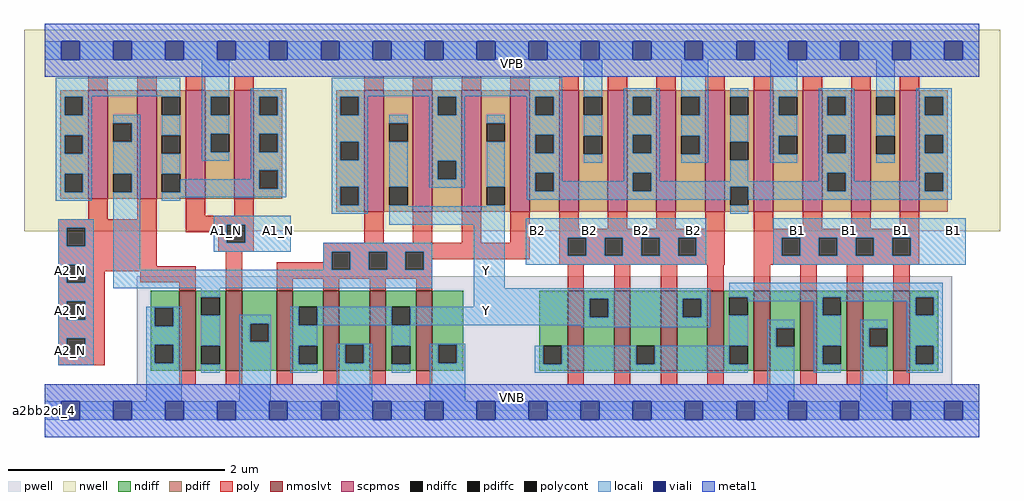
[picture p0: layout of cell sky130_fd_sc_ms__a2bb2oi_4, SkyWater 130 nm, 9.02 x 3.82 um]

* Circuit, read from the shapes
.subckt sky130_fd_sc_ms__a2bb2oi_4 A1_N A2_N B1 B2 VGND VNB VPB VPWR Y
XM1 n1 A2_N VGND VNB sky130_fd_pr__nfet_01v8_lvt w=0.74 l=0.15
XM2 VGND A1_N n1 VNB sky130_fd_pr__nfet_01v8_lvt w=0.74 l=0.15
XM3 Y n1 VGND VNB sky130_fd_pr__nfet_01v8_lvt w=0.74 l=0.15 m=4
XM4 Y B2 n2 VNB sky130_fd_pr__nfet_01v8_lvt w=0.74 l=0.15 m=4
XM5 VGND B1 n2 VNB sky130_fd_pr__nfet_01v8_lvt w=0.74 l=0.15 m=4
XM6 n1 A2_N n3 VPB sky130_fd_pr__pfet_01v8 w=1 l=0.18 m=2
XM7 VPWR A1_N n3 VPB sky130_fd_pr__pfet_01v8 w=1 l=0.18 m=2
XM8 Y n1 n4 VPB sky130_fd_pr__pfet_01v8 w=1.12 l=0.18 m=4
XM9 VPWR B2 n4 VPB sky130_fd_pr__pfet_01v8 w=1.12 l=0.18 m=4
XM10 VPWR B1 n4 VPB sky130_fd_pr__pfet_01v8 w=1.12 l=0.18 m=4
.ends

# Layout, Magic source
magic
tech sky130A
magscale 1 2
<< nwell >>
rect -38 332 1766 704
<< pwell >>
rect 170 49 1678 248
rect 0 0 1728 49
<< scpmos >>
rect 81 392 117 592
rect 171 392 207 592
rect 261 392 297 592
rect 351 392 387 592
rect 591 368 627 592
rect 681 368 717 592
rect 771 368 807 592
rect 861 368 897 592
rect 951 368 987 592
rect 1041 368 1077 592
rect 1131 368 1167 592
rect 1221 368 1257 592
rect 1311 368 1347 592
rect 1401 368 1437 592
rect 1491 368 1527 592
rect 1581 368 1617 592
<< nmoslvt >>
rect 249 74 279 222
rect 335 74 365 222
rect 429 74 459 222
rect 515 74 545 222
rect 601 74 631 222
rect 687 74 717 222
rect 967 74 997 222
rect 1053 74 1083 222
rect 1139 74 1169 222
rect 1225 74 1255 222
rect 1311 74 1341 222
rect 1397 74 1427 222
rect 1483 74 1513 222
rect 1569 74 1599 222
<< ndiff >>
rect 196 190 249 222
rect 196 156 204 190
rect 238 156 249 190
rect 196 122 249 156
rect 196 88 204 122
rect 238 88 249 122
rect 196 74 249 88
rect 279 210 335 222
rect 279 176 290 210
rect 324 176 335 210
rect 279 120 335 176
rect 279 86 290 120
rect 324 86 335 120
rect 279 74 335 86
rect 365 161 429 222
rect 365 127 380 161
rect 414 127 429 161
rect 365 74 429 127
rect 459 192 515 222
rect 459 158 470 192
rect 504 158 515 192
rect 459 120 515 158
rect 459 86 470 120
rect 504 86 515 120
rect 459 74 515 86
rect 545 122 601 222
rect 545 88 556 122
rect 590 88 601 122
rect 545 74 601 88
rect 631 192 687 222
rect 631 158 642 192
rect 676 158 687 192
rect 631 120 687 158
rect 631 86 642 120
rect 676 86 687 120
rect 631 74 687 86
rect 717 122 774 222
rect 717 88 728 122
rect 762 88 774 122
rect 717 74 774 88
rect 914 120 967 222
rect 914 86 922 120
rect 956 86 967 120
rect 914 74 967 86
rect 997 207 1053 222
rect 997 173 1008 207
rect 1042 173 1053 207
rect 997 74 1053 173
rect 1083 120 1139 222
rect 1083 86 1094 120
rect 1128 86 1139 120
rect 1083 74 1139 86
rect 1169 207 1225 222
rect 1169 173 1180 207
rect 1214 173 1225 207
rect 1169 74 1225 173
rect 1255 210 1311 222
rect 1255 176 1266 210
rect 1300 176 1311 210
rect 1255 120 1311 176
rect 1255 86 1266 120
rect 1300 86 1311 120
rect 1255 74 1311 86
rect 1341 152 1397 222
rect 1341 118 1352 152
rect 1386 118 1397 152
rect 1341 74 1397 118
rect 1427 210 1483 222
rect 1427 176 1438 210
rect 1472 176 1483 210
rect 1427 120 1483 176
rect 1427 86 1438 120
rect 1472 86 1483 120
rect 1427 74 1483 86
rect 1513 152 1569 222
rect 1513 118 1524 152
rect 1558 118 1569 152
rect 1513 74 1569 118
rect 1599 210 1652 222
rect 1599 176 1610 210
rect 1644 176 1652 210
rect 1599 120 1652 176
rect 1599 86 1610 120
rect 1644 86 1652 120
rect 1599 74 1652 86
<< pdiff >>
rect 29 580 81 592
rect 29 546 37 580
rect 71 546 81 580
rect 29 509 81 546
rect 29 475 37 509
rect 71 475 81 509
rect 29 438 81 475
rect 29 404 37 438
rect 71 404 81 438
rect 29 392 81 404
rect 117 531 171 592
rect 117 497 127 531
rect 161 497 171 531
rect 117 438 171 497
rect 117 404 127 438
rect 161 404 171 438
rect 117 392 171 404
rect 207 580 261 592
rect 207 546 217 580
rect 251 546 261 580
rect 207 509 261 546
rect 207 475 217 509
rect 251 475 261 509
rect 207 438 261 475
rect 207 404 217 438
rect 251 404 261 438
rect 207 392 261 404
rect 297 580 351 592
rect 297 546 307 580
rect 341 546 351 580
rect 297 512 351 546
rect 297 478 307 512
rect 341 478 351 512
rect 297 392 351 478
rect 387 580 439 592
rect 387 546 397 580
rect 431 546 439 580
rect 387 512 439 546
rect 387 478 397 512
rect 431 478 439 512
rect 387 444 439 478
rect 387 410 397 444
rect 431 410 439 444
rect 387 392 439 410
rect 539 580 591 592
rect 539 546 547 580
rect 581 546 591 580
rect 539 497 591 546
rect 539 463 547 497
rect 581 463 591 497
rect 539 414 591 463
rect 539 380 547 414
rect 581 380 591 414
rect 539 368 591 380
rect 627 531 681 592
rect 627 497 637 531
rect 671 497 681 531
rect 627 414 681 497
rect 627 380 637 414
rect 671 380 681 414
rect 627 368 681 380
rect 717 580 771 592
rect 717 546 727 580
rect 761 546 771 580
rect 717 462 771 546
rect 717 428 727 462
rect 761 428 771 462
rect 717 368 771 428
rect 807 531 861 592
rect 807 497 817 531
rect 851 497 861 531
rect 807 414 861 497
rect 807 380 817 414
rect 851 380 861 414
rect 807 368 861 380
rect 897 580 951 592
rect 897 546 907 580
rect 941 546 951 580
rect 897 510 951 546
rect 897 476 907 510
rect 941 476 951 510
rect 897 440 951 476
rect 897 406 907 440
rect 941 406 951 440
rect 897 368 951 406
rect 987 580 1041 592
rect 987 546 997 580
rect 1031 546 1041 580
rect 987 508 1041 546
rect 987 474 997 508
rect 1031 474 1041 508
rect 987 368 1041 474
rect 1077 580 1131 592
rect 1077 546 1087 580
rect 1121 546 1131 580
rect 1077 510 1131 546
rect 1077 476 1087 510
rect 1121 476 1131 510
rect 1077 440 1131 476
rect 1077 406 1087 440
rect 1121 406 1131 440
rect 1077 368 1131 406
rect 1167 580 1221 592
rect 1167 546 1177 580
rect 1211 546 1221 580
rect 1167 508 1221 546
rect 1167 474 1177 508
rect 1211 474 1221 508
rect 1167 368 1221 474
rect 1257 580 1311 592
rect 1257 546 1267 580
rect 1301 546 1311 580
rect 1257 497 1311 546
rect 1257 463 1267 497
rect 1301 463 1311 497
rect 1257 414 1311 463
rect 1257 380 1267 414
rect 1301 380 1311 414
rect 1257 368 1311 380
rect 1347 580 1401 592
rect 1347 546 1357 580
rect 1391 546 1401 580
rect 1347 508 1401 546
rect 1347 474 1357 508
rect 1391 474 1401 508
rect 1347 368 1401 474
rect 1437 580 1491 592
rect 1437 546 1447 580
rect 1481 546 1491 580
rect 1437 510 1491 546
rect 1437 476 1447 510
rect 1481 476 1491 510
rect 1437 440 1491 476
rect 1437 406 1447 440
rect 1481 406 1491 440
rect 1437 368 1491 406
rect 1527 580 1581 592
rect 1527 546 1537 580
rect 1571 546 1581 580
rect 1527 508 1581 546
rect 1527 474 1537 508
rect 1571 474 1581 508
rect 1527 368 1581 474
rect 1617 580 1669 592
rect 1617 546 1627 580
rect 1661 546 1669 580
rect 1617 510 1669 546
rect 1617 476 1627 510
rect 1661 476 1669 510
rect 1617 440 1669 476
rect 1617 406 1627 440
rect 1661 406 1669 440
rect 1617 368 1669 406
<< ndiffc >>
rect 204 156 238 190
rect 204 88 238 122
rect 290 176 324 210
rect 290 86 324 120
rect 380 127 414 161
rect 470 158 504 192
rect 470 86 504 120
rect 556 88 590 122
rect 642 158 676 192
rect 642 86 676 120
rect 728 88 762 122
rect 922 86 956 120
rect 1008 173 1042 207
rect 1094 86 1128 120
rect 1180 173 1214 207
rect 1266 176 1300 210
rect 1266 86 1300 120
rect 1352 118 1386 152
rect 1438 176 1472 210
rect 1438 86 1472 120
rect 1524 118 1558 152
rect 1610 176 1644 210
rect 1610 86 1644 120
<< pdiffc >>
rect 37 546 71 580
rect 37 475 71 509
rect 37 404 71 438
rect 127 497 161 531
rect 127 404 161 438
rect 217 546 251 580
rect 217 475 251 509
rect 217 404 251 438
rect 307 546 341 580
rect 307 478 341 512
rect 397 546 431 580
rect 397 478 431 512
rect 397 410 431 444
rect 547 546 581 580
rect 547 463 581 497
rect 547 380 581 414
rect 637 497 671 531
rect 637 380 671 414
rect 727 546 761 580
rect 727 428 761 462
rect 817 497 851 531
rect 817 380 851 414
rect 907 546 941 580
rect 907 476 941 510
rect 907 406 941 440
rect 997 546 1031 580
rect 997 474 1031 508
rect 1087 546 1121 580
rect 1087 476 1121 510
rect 1087 406 1121 440
rect 1177 546 1211 580
rect 1177 474 1211 508
rect 1267 546 1301 580
rect 1267 463 1301 497
rect 1267 380 1301 414
rect 1357 546 1391 580
rect 1357 474 1391 508
rect 1447 546 1481 580
rect 1447 476 1481 510
rect 1447 406 1481 440
rect 1537 546 1571 580
rect 1537 474 1571 508
rect 1627 546 1661 580
rect 1627 476 1661 510
rect 1627 406 1661 440
<< poly >>
rect 81 592 117 618
rect 171 592 207 618
rect 261 592 297 618
rect 351 592 387 618
rect 591 592 627 618
rect 681 592 717 618
rect 771 592 807 618
rect 861 592 897 618
rect 951 592 987 618
rect 1041 592 1077 618
rect 1131 592 1167 618
rect 1221 592 1257 618
rect 1311 592 1347 618
rect 1401 592 1437 618
rect 1491 592 1527 618
rect 1581 592 1617 618
rect 81 354 117 392
rect 171 354 207 392
rect 25 338 207 354
rect 25 304 41 338
rect 75 304 207 338
rect 261 360 297 392
rect 351 360 387 392
rect 261 344 387 360
rect 261 330 337 344
rect 25 270 207 304
rect 321 310 337 330
rect 371 310 387 344
rect 591 310 627 368
rect 681 310 717 368
rect 771 310 807 368
rect 861 310 897 368
rect 321 294 387 310
rect 515 294 897 310
rect 25 236 41 270
rect 75 267 207 270
rect 75 258 279 267
rect 75 236 111 258
rect 177 237 279 258
rect 25 202 111 236
rect 249 222 279 237
rect 335 222 365 294
rect 515 274 531 294
rect 429 260 531 274
rect 565 260 599 294
rect 633 260 667 294
rect 701 280 897 294
rect 951 336 987 368
rect 1041 336 1077 368
rect 1131 336 1167 368
rect 1221 336 1257 368
rect 951 320 1257 336
rect 951 286 967 320
rect 1001 286 1035 320
rect 1069 286 1103 320
rect 1137 286 1171 320
rect 1205 286 1257 320
rect 701 260 717 280
rect 951 270 1257 286
rect 1311 336 1347 368
rect 1401 336 1437 368
rect 1491 336 1527 368
rect 1581 336 1617 368
rect 1311 320 1617 336
rect 1311 286 1363 320
rect 1397 286 1431 320
rect 1465 286 1499 320
rect 1533 286 1567 320
rect 1601 286 1617 320
rect 1311 270 1617 286
rect 429 244 717 260
rect 429 222 459 244
rect 515 222 545 244
rect 601 222 631 244
rect 687 222 717 244
rect 967 222 997 270
rect 1053 222 1083 270
rect 1139 222 1169 270
rect 1225 222 1255 270
rect 1311 222 1341 270
rect 1397 222 1427 270
rect 1483 222 1513 270
rect 1569 222 1599 270
rect 25 168 41 202
rect 75 168 111 202
rect 25 134 111 168
rect 25 100 41 134
rect 75 100 111 134
rect 25 84 111 100
rect 249 48 279 74
rect 335 48 365 74
rect 429 48 459 74
rect 515 48 545 74
rect 601 48 631 74
rect 687 48 717 74
rect 967 48 997 74
rect 1053 48 1083 74
rect 1139 48 1169 74
rect 1225 48 1255 74
rect 1311 48 1341 74
rect 1397 48 1427 74
rect 1483 48 1513 74
rect 1569 48 1599 74
<< polycont >>
rect 41 304 75 338
rect 337 310 371 344
rect 41 236 75 270
rect 531 260 565 294
rect 599 260 633 294
rect 667 260 701 294
rect 967 286 1001 320
rect 1035 286 1069 320
rect 1103 286 1137 320
rect 1171 286 1205 320
rect 1363 286 1397 320
rect 1431 286 1465 320
rect 1499 286 1533 320
rect 1567 286 1601 320
rect 41 168 75 202
rect 41 100 75 134
<< locali >>
rect 0 649 31 683
rect 65 649 127 683
rect 161 649 223 683
rect 257 649 319 683
rect 353 649 415 683
rect 449 649 511 683
rect 545 649 607 683
rect 641 649 703 683
rect 737 649 799 683
rect 833 649 895 683
rect 929 649 991 683
rect 1025 649 1087 683
rect 1121 649 1183 683
rect 1217 649 1279 683
rect 1313 649 1375 683
rect 1409 649 1471 683
rect 1505 649 1567 683
rect 1601 649 1663 683
rect 1697 649 1728 683
rect 21 581 251 615
rect 21 580 87 581
rect 21 546 37 580
rect 71 546 87 580
rect 217 580 251 581
rect 21 509 87 546
rect 21 475 37 509
rect 71 475 87 509
rect 21 438 87 475
rect 21 404 37 438
rect 71 404 87 438
rect 21 388 87 404
rect 127 531 177 547
rect 161 497 177 531
rect 127 438 177 497
rect 161 404 177 438
rect 25 338 91 354
rect 25 304 41 338
rect 75 304 91 338
rect 25 270 91 304
rect 25 236 41 270
rect 75 236 91 270
rect 25 202 91 236
rect 127 260 177 404
rect 217 509 251 546
rect 217 438 251 475
rect 291 580 341 649
rect 291 546 307 580
rect 291 512 341 546
rect 291 478 307 512
rect 291 462 341 478
rect 381 580 447 596
rect 381 546 397 580
rect 431 546 447 580
rect 381 512 447 546
rect 381 478 397 512
rect 431 478 447 512
rect 381 444 447 478
rect 381 428 397 444
rect 251 410 397 428
rect 431 410 447 444
rect 251 404 447 410
rect 217 394 447 404
rect 531 581 957 615
rect 531 580 597 581
rect 531 546 547 580
rect 581 546 597 580
rect 711 580 777 581
rect 531 497 597 546
rect 531 463 547 497
rect 581 463 597 497
rect 531 414 597 463
rect 217 388 251 394
rect 531 380 547 414
rect 581 380 597 414
rect 531 364 597 380
rect 637 531 671 547
rect 637 414 671 497
rect 711 546 727 580
rect 761 546 777 580
rect 891 580 957 581
rect 711 462 777 546
rect 711 428 727 462
rect 761 428 777 462
rect 711 412 777 428
rect 817 531 851 547
rect 817 414 851 497
rect 637 378 671 380
rect 891 546 907 580
rect 941 546 957 580
rect 891 510 957 546
rect 891 476 907 510
rect 941 476 957 510
rect 891 440 957 476
rect 997 580 1031 649
rect 997 508 1031 546
rect 997 458 1031 474
rect 1071 580 1137 596
rect 1071 546 1087 580
rect 1121 546 1137 580
rect 1071 510 1137 546
rect 1071 476 1087 510
rect 1121 476 1137 510
rect 891 406 907 440
rect 941 424 957 440
rect 1071 440 1137 476
rect 1177 580 1227 649
rect 1211 546 1227 580
rect 1177 508 1227 546
rect 1211 474 1227 508
rect 1177 458 1227 474
rect 1267 580 1301 596
rect 1267 497 1301 546
rect 1071 424 1087 440
rect 941 406 1087 424
rect 1121 424 1137 440
rect 1267 424 1301 463
rect 1341 580 1391 649
rect 1341 546 1357 580
rect 1341 508 1391 546
rect 1341 474 1357 508
rect 1341 458 1391 474
rect 1431 580 1497 596
rect 1431 546 1447 580
rect 1481 546 1497 580
rect 1431 510 1497 546
rect 1431 476 1447 510
rect 1481 476 1497 510
rect 1431 440 1497 476
rect 1537 580 1571 649
rect 1537 508 1571 546
rect 1537 458 1571 474
rect 1611 580 1677 596
rect 1611 546 1627 580
rect 1661 546 1677 580
rect 1611 510 1677 546
rect 1611 476 1627 510
rect 1661 476 1677 510
rect 1431 424 1447 440
rect 1121 414 1447 424
rect 1121 406 1267 414
rect 891 390 1267 406
rect 817 378 851 380
rect 313 344 455 360
rect 637 344 851 378
rect 1301 406 1447 414
rect 1481 424 1497 440
rect 1611 440 1677 476
rect 1611 424 1627 440
rect 1481 406 1627 424
rect 1661 406 1677 440
rect 1301 390 1677 406
rect 1267 364 1301 380
rect 313 310 337 344
rect 371 310 455 344
rect 313 294 455 310
rect 515 294 717 310
rect 515 260 531 294
rect 565 260 599 294
rect 633 260 667 294
rect 701 260 717 294
rect 127 226 717 260
rect 793 226 851 344
rect 889 320 1223 356
rect 889 286 967 320
rect 1001 286 1035 320
rect 1069 286 1103 320
rect 1137 286 1171 320
rect 1205 286 1223 320
rect 889 270 1223 286
rect 1347 320 1703 356
rect 1347 286 1363 320
rect 1397 286 1431 320
rect 1465 286 1499 320
rect 1533 286 1567 320
rect 1601 286 1703 320
rect 1347 270 1703 286
rect 25 168 41 202
rect 75 168 91 202
rect 290 210 324 226
rect 25 134 91 168
rect 25 100 41 134
rect 75 100 91 134
rect 25 84 91 100
rect 188 190 254 192
rect 188 156 204 190
rect 238 156 254 190
rect 188 122 254 156
rect 188 88 204 122
rect 238 88 254 122
rect 188 17 254 88
rect 793 207 1230 226
rect 793 192 1008 207
rect 290 120 324 176
rect 290 70 324 86
rect 360 161 418 177
rect 360 127 380 161
rect 414 127 418 161
rect 360 17 418 127
rect 454 158 470 192
rect 504 158 642 192
rect 676 173 1008 192
rect 1042 173 1180 207
rect 1214 173 1230 207
rect 676 158 1230 173
rect 454 120 504 158
rect 454 86 470 120
rect 454 70 504 86
rect 540 122 606 124
rect 540 88 556 122
rect 590 88 606 122
rect 540 17 606 88
rect 642 120 676 158
rect 992 154 1230 158
rect 1266 210 1660 236
rect 1300 202 1438 210
rect 642 70 676 86
rect 712 122 778 124
rect 712 88 728 122
rect 762 88 778 122
rect 1266 120 1300 176
rect 1422 176 1438 202
rect 1472 202 1610 210
rect 712 17 778 88
rect 906 86 922 120
rect 956 86 1094 120
rect 1128 86 1266 120
rect 906 70 1300 86
rect 1336 152 1386 168
rect 1336 118 1352 152
rect 1336 17 1386 118
rect 1422 120 1472 176
rect 1594 176 1610 202
rect 1644 176 1660 210
rect 1422 86 1438 120
rect 1422 70 1472 86
rect 1508 152 1558 168
rect 1508 118 1524 152
rect 1508 17 1558 118
rect 1594 120 1660 176
rect 1594 86 1610 120
rect 1644 86 1660 120
rect 1594 70 1660 86
rect 0 -17 31 17
rect 65 -17 127 17
rect 161 -17 223 17
rect 257 -17 319 17
rect 353 -17 415 17
rect 449 -17 511 17
rect 545 -17 607 17
rect 641 -17 703 17
rect 737 -17 799 17
rect 833 -17 895 17
rect 929 -17 991 17
rect 1025 -17 1087 17
rect 1121 -17 1183 17
rect 1217 -17 1279 17
rect 1313 -17 1375 17
rect 1409 -17 1471 17
rect 1505 -17 1567 17
rect 1601 -17 1663 17
rect 1697 -17 1728 17
<< viali >>
rect 31 649 65 683
rect 127 649 161 683
rect 223 649 257 683
rect 319 649 353 683
rect 415 649 449 683
rect 511 649 545 683
rect 607 649 641 683
rect 703 649 737 683
rect 799 649 833 683
rect 895 649 929 683
rect 991 649 1025 683
rect 1087 649 1121 683
rect 1183 649 1217 683
rect 1279 649 1313 683
rect 1375 649 1409 683
rect 1471 649 1505 683
rect 1567 649 1601 683
rect 1663 649 1697 683
rect 31 -17 65 17
rect 127 -17 161 17
rect 223 -17 257 17
rect 319 -17 353 17
rect 415 -17 449 17
rect 511 -17 545 17
rect 607 -17 641 17
rect 703 -17 737 17
rect 799 -17 833 17
rect 895 -17 929 17
rect 991 -17 1025 17
rect 1087 -17 1121 17
rect 1183 -17 1217 17
rect 1279 -17 1313 17
rect 1375 -17 1409 17
rect 1471 -17 1505 17
rect 1567 -17 1601 17
rect 1663 -17 1697 17
<< metal1 >>
rect 0 683 1728 715
rect 0 649 31 683
rect 65 649 127 683
rect 161 649 223 683
rect 257 649 319 683
rect 353 649 415 683
rect 449 649 511 683
rect 545 649 607 683
rect 641 649 703 683
rect 737 649 799 683
rect 833 649 895 683
rect 929 649 991 683
rect 1025 649 1087 683
rect 1121 649 1183 683
rect 1217 649 1279 683
rect 1313 649 1375 683
rect 1409 649 1471 683
rect 1505 649 1567 683
rect 1601 649 1663 683
rect 1697 649 1728 683
rect 0 617 1728 649
rect 0 17 1728 49
rect 0 -17 31 17
rect 65 -17 127 17
rect 161 -17 223 17
rect 257 -17 319 17
rect 353 -17 415 17
rect 449 -17 511 17
rect 545 -17 607 17
rect 641 -17 703 17
rect 737 -17 799 17
rect 833 -17 895 17
rect 929 -17 991 17
rect 1025 -17 1087 17
rect 1121 -17 1183 17
rect 1217 -17 1279 17
rect 1313 -17 1375 17
rect 1409 -17 1471 17
rect 1505 -17 1567 17
rect 1601 -17 1663 17
rect 1697 -17 1728 17
rect 0 -49 1728 -17
<< labels >>
flabel pwell s 0 0 1728 49 0 FreeSans 200 0 0 0 VNB
port 6 nsew ground bidirectional
flabel nwell s 0 617 1728 666 0 FreeSans 200 0 0 0 VPB
port 7 nsew power bidirectional
rlabel comment s 0 0 0 0 4 a2bb2oi_4
flabel metal1 s 0 617 1728 666 0 FreeSans 340 0 0 0 VPWR
port 8 nsew power bidirectional
flabel metal1 s 0 0 1728 49 0 FreeSans 340 0 0 0 VGND
port 5 nsew ground bidirectional
flabel locali s 31 94 65 128 0 FreeSans 340 0 0 0 A2_N
port 2 nsew signal input
flabel locali s 31 168 65 202 0 FreeSans 340 0 0 0 A2_N
port 2 nsew signal input
flabel locali s 31 242 65 276 0 FreeSans 340 0 0 0 A2_N
port 2 nsew signal input
flabel locali s 799 168 833 202 0 FreeSans 340 0 0 0 Y
port 9 nsew signal output
flabel locali s 799 242 833 276 0 FreeSans 340 0 0 0 Y
port 9 nsew signal output
flabel locali s 895 316 929 350 0 FreeSans 340 0 0 0 B2
port 4 nsew signal input
flabel locali s 991 316 1025 350 0 FreeSans 340 0 0 0 B2
port 4 nsew signal input
flabel locali s 1087 316 1121 350 0 FreeSans 340 0 0 0 B2
port 4 nsew signal input
flabel locali s 1183 316 1217 350 0 FreeSans 340 0 0 0 B2
port 4 nsew signal input
flabel locali s 1375 316 1409 350 0 FreeSans 340 0 0 0 B1
port 3 nsew signal input
flabel locali s 1471 316 1505 350 0 FreeSans 340 0 0 0 B1
port 3 nsew signal input
flabel locali s 1567 316 1601 350 0 FreeSans 340 0 0 0 B1
port 3 nsew signal input
flabel locali s 1663 316 1697 350 0 FreeSans 340 0 0 0 B1
port 3 nsew signal input
flabel locali s 319 316 353 350 0 FreeSans 340 0 0 0 A1_N
port 1 nsew signal input
flabel locali s 415 316 449 350 0 FreeSans 340 0 0 0 A1_N
port 1 nsew signal input
<< properties >>
string LEFsite unit
string LEFclass CORE
string FIXED_BBOX 0 0 1728 666
string GDS_FILE $PDKPATH/libs.ref/sky130_fd_sc_ms/gds/sky130_fd_sc_ms.gds
string LEFsymmetry X Y
string GDS_END 1999366
string GDS_START 1985306
<< end >>
